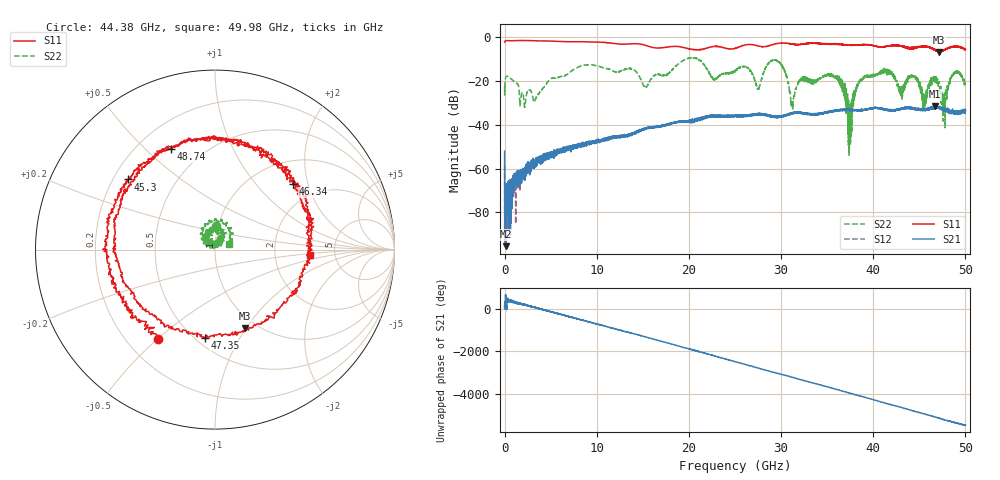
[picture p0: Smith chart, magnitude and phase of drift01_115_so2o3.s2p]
!Created with skrf (http://scikit-rf.org).
# Hz S RI R 50.0
!freq ReS11 ImS11 ReS21 ImS21 ReS12 ImS12 ReS22 ImS22
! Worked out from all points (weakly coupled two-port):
!   10001 points, 300 kHz to 50 GHz, reference 50 ohm
!   highest |S21| = -31.45 dB at 46.69 GHz (marker M1); lowest = -95.4 dB at 150.3 MHz (marker M2)
!   lowest |S11| = -6.6 dB at 47.15 GHz (marker M3), VSWR 2.77, Z = 44.2 - j49.6 ohm
!   |S11| at or under -10 dB: nowhere
!   |S22| runs from -53.8 to -9.2 dB; largest |S21 - S12| = 0.004
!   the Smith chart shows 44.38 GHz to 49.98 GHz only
!   S11 on the Smith chart (normalised r, x): 44.38 GHz: 0.33, -0.50; 45.3 GHz: 0.26, +0.33; 46.34 GHz: 1.50, +1.61; 47.35 GHz: 0.56, -0.72; 48.74 GHz: 0.33, +0.60; 49.98 GHz: 3.21, -0.29
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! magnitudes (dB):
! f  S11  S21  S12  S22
! 300 kHz  -2.1  -51.9  -58.5  -22.3
! 150.3 MHz  -1.5  -95.4  -80.8  -17.8
! 3.29 GHz  -1.5  -56.6  -57.1  -28.8
! 8.335 GHz  -1.9  -49.0  -49.3  -12.9
! 16.67 GHz  -4.8  -40.4  -40.7  -16.7
! 25 GHz  -5.0  -36.0  -35.9  -15.6
! 29.6 GHz  -2.8  -36.3  -36.3  -10.7
! 31.24 GHz  -3.0  -34.9  -34.7  -31.9
! 33.34 GHz  -2.6  -35.3  -34.9  -20.3
! 36.08 GHz  -3.0  -33.3  -33.4  -18.4
! 37.47 GHz  -3.6  -32.9  -33.1  -36.7
! 38.65 GHz  -3.3  -33.1  -33.4  -19.9
! 41.67 GHz  -3.9  -33.2  -33.2  -16.2
! 44.38 GHz  -4.6  -32.3  -32.4  -17.7
! 45.3 GHz  -4.1  -33.1  -32.8  -28.1
! 46.34 GHz  -4.9  -32.3  -32.2  -20.2
! 46.69 GHz  -5.4  -31.4  -32.0  -19.5
! 47.15 GHz  -6.6  -32.1  -32.0  -20.7
! 47.35 GHz  -6.1  -32.5  -32.1  -25.7
! 48.74 GHz  -4.3  -34.3  -34.3  -16.3
! 49.98 GHz  -5.6  -34.7  -33.4  -21.3
! 50 GHz  -5.4  -33.3  -33.8  -21.5
